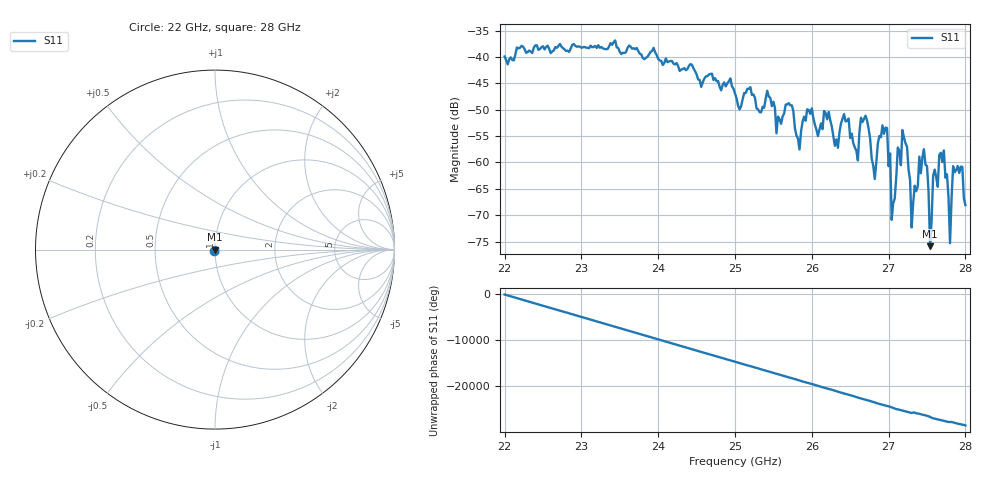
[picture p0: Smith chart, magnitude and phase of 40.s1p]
#  HZ  S  RI  R  50.00
! Rohde & Schwarz ZVA40 4Ports - Version 3.90 - 1145.1110k42 SN: 100403
! Date: 2023-10-04 06:18:35
! Measurement: S12
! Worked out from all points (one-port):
!   301 points, 22 GHz to 28 GHz, reference 50 ohm
!   lowest |S11| = -75.9 dB at 27.54 GHz (marker M1), VSWR 1.00, Z = 50 - j0.00405 ohm
!   |S11| at or under -10 dB: start of sweep to end of sweep
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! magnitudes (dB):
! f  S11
! 22 GHz  -39.9
! 22.76 GHz  -38.3
! 23.5 GHz  -39.0
! 24.26 GHz  -41.7
! 25 GHz  -46.9
! 25.76 GHz  -50.3
! 25.84 GHz  -57.5
! 25.94 GHz  -49.9
! 26.5 GHz  -55.4
! 26.6 GHz  -59.6
! 26.7 GHz  -51.1
! 26.82 GHz  -63.1
! 26.98 GHz  -53.5
! 27.02 GHz  -58.3
! 27.04 GHz  -70.9
! 27.18 GHz  -53.8
! 27.26 GHz  -61.4
! 27.3 GHz  -72.3
! 27.46 GHz  -57.5
! 27.5 GHz  -60.7
! 27.54 GHz  -75.9
! 27.58 GHz  -62.5
! 27.68 GHz  -58.2
! 27.76 GHz  -62.2
! 27.8 GHz  -75.3
! 27.84 GHz  -60.7
! 27.96 GHz  -60.8
! 28 GHz  -68.1
